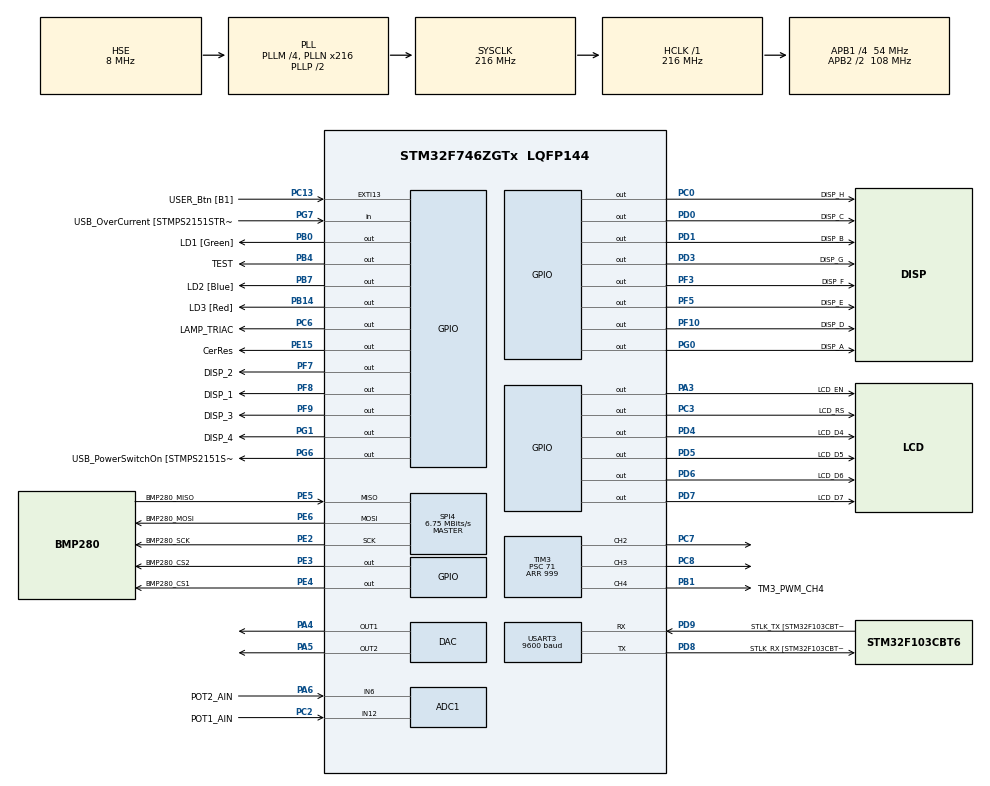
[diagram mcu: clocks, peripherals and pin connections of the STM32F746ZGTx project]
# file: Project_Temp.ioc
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ADC1.Channel-0\#ChannelRegularConversion=ADC_CHANNEL_12
ADC1.Channel-1\#ChannelRegularConversion=ADC_CHANNEL_6
ADC1.ClockPrescaler=ADC_CLOCK_SYNC_PCLK_DIV8
ADC1.ContinuousConvMode=DISABLE
ADC1.DMAContinuousRequests=ENABLE
ADC1.EOCSelection=ADC_EOC_SEQ_CONV
ADC1.InjNumberOfConversion=0
ADC1.NbrOfConversion=2
ADC1.NbrOfConversionFlag=1
ADC1.Rank-0\#ChannelRegularConversion=1
ADC1.Rank-1\#ChannelRegularConversion=2
ADC1.SamplingTime-0\#ChannelRegularConversion=ADC_SAMPLETIME_480CYCLES
ADC1.SamplingTime-1\#ChannelRegularConversion=ADC_SAMPLETIME_480CYCLES
ADC1.master=1
DAC.DAC_Trigger=DAC_TRIGGER_NONE
Dma.ADC1.0.Direction=DMA_PERIPH_TO_MEMORY
Dma.ADC1.0.FIFOMode=DMA_FIFOMODE_DISABLE
Dma.ADC1.0.Instance=DMA2_Stream0
Dma.ADC1.0.MemDataAlignment=DMA_MDATAALIGN_HALFWORD
Dma.ADC1.0.MemInc=DMA_MINC_ENABLE
Dma.ADC1.0.Mode=DMA_CIRCULAR
Dma.ADC1.0.PeriphDataAlignment=DMA_PDATAALIGN_HALFWORD
Dma.ADC1.0.PeriphInc=DMA_PINC_DISABLE
Dma.ADC1.0.Priority=DMA_PRIORITY_LOW
Dma.DAC1.1.Direction=DMA_MEMORY_TO_PERIPH
Dma.DAC1.1.FIFOMode=DMA_FIFOMODE_DISABLE
Dma.DAC1.1.Instance=DMA1_Stream5
Dma.DAC1.1.MemDataAlignment=DMA_MDATAALIGN_HALFWORD
Dma.DAC1.1.MemInc=DMA_MINC_ENABLE
Dma.DAC1.1.Mode=DMA_CIRCULAR
Dma.DAC1.1.PeriphDataAlignment=DMA_PDATAALIGN_HALFWORD
Dma.DAC1.1.PeriphInc=DMA_PINC_DISABLE
Dma.DAC1.1.Priority=DMA_PRIORITY_HIGH
Dma.Request0=ADC1
Dma.Request1=DAC1
Mcu.Family=STM32F7
Mcu.Name=STM32F746ZGTx
Mcu.Package=LQFP144
NVIC.DMA1_Stream5_IRQn=true\:0\:0\:false\:false\:true\:false\:true
NVIC.DMA2_Stream0_IRQn=true\:0\:0\:false\:false\:true\:false\:true
NVIC.EXTI15_10_IRQn=true\:0\:0\:false\:false\:true\:true\:true
NVIC.PriorityGroup=NVIC_PRIORITYGROUP_4
NVIC.TIM2_IRQn=true\:0\:0\:false\:false\:true\:true\:true
NVIC.TIM6_DAC_IRQn=true\:0\:0\:false\:false\:true\:true\:true
NVIC.TIM7_IRQn=true\:0\:0\:false\:false\:true\:true\:true
NVIC.USART3_IRQn=true\:0\:0\:false\:false\:true\:true\:true
PA1.GPIO_Label=RMII_REF_CLK [LAN8742A-CZ-TR_REFCLK0]
PA1.Signal=ETH_REF_CLK
PA10.GPIO_Label=USB_ID
PA10.Signal=USB_OTG_FS_ID
PA11.GPIO_Label=USB_DM
PA11.Signal=USB_OTG_FS_DM
PA12.GPIO_Label=USB_DP
PA12.Signal=USB_OTG_FS_DP
PA13.GPIO_Label=TMS
PA13.Mode=Serial_Wire
PA13.Signal=SYS_JTMS-SWDIO
PA14.GPIO_Label=TCK
PA14.Mode=Serial_Wire
PA14.Signal=SYS_JTCK-SWCLK
PA2.GPIO_Label=RMII_MDIO [LAN8742A-CZ-TR_MDIO]
PA2.Signal=ETH_MDIO
PA3.GPIO_Label=LCD_EN
PA3.Signal=GPIO_Output
PA4.Signal=COMP_DAC1_group
PA5.Signal=COMP_DAC2_group
PA6.GPIO_Label=POT2_AIN
PA6.Signal=ADCx_IN6
PA8.GPIO_Label=USB_SOF [TP1]
PA8.Signal=USB_OTG_FS_SOF
PA9.GPIO_Label=USB_VBUS
PA9.Signal=USB_OTG_FS_VBUS
PB0.GPIO_Label=LD1 [Green]
PB0.Signal=GPIO_Output
PB1.GPIO_Label=TM3_PWM_CH4
PB1.Signal=S_TIM3_CH4
PB13.GPIO_Label=RMII_TXD1 [LAN8742A-CZ-TR_TXD1]
PB13.Signal=ETH_TXD1
PB14.GPIO_Label=LD3 [Red]
PB14.Signal=GPIO_Output
PB3.GPIO_Label=SW0
PB3.Signal=SYS_JTDO-SWO
PB4.GPIO_Label=TEST
PB4.Signal=GPIO_Output
PB7.GPIO_Label=LD2 [Blue]
PB7.Signal=GPIO_Output
PC0.GPIO_Label=DISP_H
PC0.GPIO_ModeDefaultOutputPP=GPIO_MODE_OUTPUT_OD
PC0.GPIO_PuPd=GPIO_PULLUP
PC0.Signal=GPIO_Output
PC1.GPIO_Label=RMII_MDC [LAN8742A-CZ-TR_MDC]
PC1.Signal=ETH_MDC
PC13.GPIO_Label=USER_Btn [B1]
PC13.Signal=GPXTI13
PC14/OSC32_IN.Mode=LSE-External-Oscillator
PC14/OSC32_IN.Signal=RCC_OSC32_IN
PC15/OSC32_OUT.Mode=LSE-External-Oscillator
PC15/OSC32_OUT.Signal=RCC_OSC32_OUT
PC2.GPIO_Label=POT1_AIN
PC2.Signal=ADCx_IN12
PC3.GPIO_Label=LCD_RS
PC3.Signal=GPIO_Output
PC4.GPIO_Label=RMII_RXD0 [LAN8742A-CZ-TR_RXD0]
PC4.Signal=ETH_RXD0
PC5.GPIO_Label=RMII_RXD1 [LAN8742A-CZ-TR_RXD1]
PC5.Signal=ETH_RXD1
PC6.GPIO_Label=LAMP_TRIAC
PC6.GPIO_Speed=GPIO_SPEED_FREQ_HIGH
PC6.Signal=GPIO_Output
PC7.Signal=S_TIM3_CH2
PC8.Signal=S_TIM3_CH3
PD0.GPIO_Label=DISP_C
PD0.GPIO_ModeDefaultOutputPP=GPIO_MODE_OUTPUT_OD
PD0.GPIO_PuPd=GPIO_PULLUP
PD0.Signal=GPIO_Output
PD1.GPIO_Label=DISP_B
PD1.GPIO_ModeDefaultOutputPP=GPIO_MODE_OUTPUT_OD
PD1.GPIO_PuPd=GPIO_PULLUP
PD1.Signal=GPIO_Output
PD3.GPIO_Label=DISP_G
PD3.GPIO_ModeDefaultOutputPP=GPIO_MODE_OUTPUT_OD
PD3.GPIO_PuPd=GPIO_PULLUP
PD3.Signal=GPIO_Output
PD4.GPIO_Label=LCD_D4
PD4.Signal=GPIO_Output
PD5.GPIO_Label=LCD_D5
PD5.Signal=GPIO_Output
PD6.GPIO_Label=LCD_D6
PD6.Signal=GPIO_Output
PD7.GPIO_Label=LCD_D7
PD7.Signal=GPIO_Output
PD8.GPIO_Label=STLK_RX [STM32F103CBT6_PA3]
PD8.Mode=Asynchronous
PD8.Signal=USART3_TX
PD9.GPIO_Label=STLK_TX [STM32F103CBT6_PA2]
PD9.Mode=Asynchronous
PD9.Signal=USART3_RX
PE15.GPIO_Label=CerRes
PE15.Signal=GPIO_Output
PE2.GPIO_Label=BMP280_SCK
PE2.Mode=Full_Duplex_Master
PE2.Signal=SPI4_SCK
PE3.GPIO_Label=BMP280_CS2
PE3.GPIO_Speed=GPIO_SPEED_FREQ_VERY_HIGH
PE3.PinState=GPIO_PIN_SET
PE3.Signal=GPIO_Output
PE4.GPIO_Label=BMP280_CS1
PE4.GPIO_Speed=GPIO_SPEED_FREQ_VERY_HIGH
PE4.PinState=GPIO_PIN_SET
PE4.Signal=GPIO_Output
PE5.GPIO_Label=BMP280_MISO
PE5.Mode=Full_Duplex_Master
PE5.Signal=SPI4_MISO
PE6.GPIO_Label=BMP280_MOSI
PE6.Mode=Full_Duplex_Master
PE6.Signal=SPI4_MOSI
PF10.GPIO_Label=DISP_D
PF10.GPIO_ModeDefaultOutputPP=GPIO_MODE_OUTPUT_OD
PF10.GPIO_PuPd=GPIO_PULLUP
PF10.Signal=GPIO_Output
PF3.GPIO_Label=DISP_F
PF3.GPIO_ModeDefaultOutputPP=GPIO_MODE_OUTPUT_OD
PF3.GPIO_PuPd=GPIO_PULLUP
PF3.Signal=GPIO_Output
PF5.GPIO_Label=DISP_E
PF5.GPIO_ModeDefaultOutputPP=GPIO_MODE_OUTPUT_OD
PF5.GPIO_PuPd=GPIO_PULLUP
PF5.Signal=GPIO_Output
PF7.GPIO_Label=DISP_2
PF7.Signal=GPIO_Output
PF8.GPIO_Label=DISP_1
PF8.Signal=GPIO_Output
PF9.GPIO_Label=DISP_3
PF9.Signal=GPIO_Output
PG0.GPIO_Label=DISP_A
PG0.GPIO_ModeDefaultOutputPP=GPIO_MODE_OUTPUT_OD
PG0.GPIO_PuPd=GPIO_PULLUP
PG0.Signal=GPIO_Output
PG1.GPIO_Label=DISP_4
PG1.Signal=GPIO_Output
PG11.GPIO_Label=RMII_TX_EN [LAN8742A-CZ-TR_TXEN]
PG11.Signal=ETH_TX_EN
PG13.GPIO_Label=RMII_TXD0 [LAN8742A-CZ-TR_TXD0]
PG13.Signal=ETH_TXD0
PG6.GPIO_Label=USB_PowerSwitchOn [STMPS2151STR_EN]
PG6.Signal=GPIO_Output
PG7.GPIO_Label=USB_OverCurrent [STMPS2151STR_FAULT]
PG7.Signal=GPIO_Input
PH0/OSC_IN.GPIO_Label=MCO [STM32F103CBT6_PA8]
PH0/OSC_IN.Mode=HSE-External-Clock-Source
PH0/OSC_IN.Signal=RCC_OSC_IN
PH1/OSC_OUT.Mode=HSE-External-Clock-Source
PH1/OSC_OUT.Signal=RCC_OSC_OUT
ProjectManager.HeapSize=0x200
ProjectManager.StackSize=0x400
ProjectManager.TargetToolchain=STM32CubeIDE
RCC.48MHZClocksFreq_Value=24000000
RCC.AHBFreq_Value=216000000
RCC.APB1CLKDivider=RCC_HCLK_DIV4
RCC.APB1Freq_Value=54000000
RCC.APB1TimFreq_Value=108000000
RCC.APB2CLKDivider=RCC_HCLK_DIV2
RCC.APB2Freq_Value=108000000
RCC.APB2TimFreq_Value=216000000
RCC.CortexFreq_Value=216000000
RCC.HCLKFreq_Value=216000000
RCC.HSE_VALUE=8000000
RCC.HSI_VALUE=16000000
RCC.PLLM=4
RCC.PLLMUL=RCC_PLL_MUL9
RCC.PLLN=216
RCC.PLLQ=3
RCC.PLLSourceVirtual=RCC_PLLSOURCE_HSE
RCC.PRESCALERUSB=RCC_USBCLKSOURCE_PLL_DIV1_5
RCC.SYSCLKFreq_VALUE=216000000
RCC.SYSCLKSource=RCC_SYSCLKSOURCE_PLLCLK
RCC.SYSCLKSourceVirtual=RCC_SYSCLKSOURCE_PLLCLK
RCC.USBFreq_Value=144000000
RCC.VCOOutputFreq_Value=432000000
SH.ADCx_IN12.0=ADC1_IN12,IN12
SH.ADCx_IN6.0=ADC1_IN6,IN6
SH.COMP_DAC1_group.0=DAC_OUT1,DAC_OUT1
SH.COMP_DAC2_group.0=DAC_OUT2,DAC_OUT2
SH.S_TIM3_CH2.0=TIM3_CH2,PWM Generation2 CH2
SH.S_TIM3_CH3.0=TIM3_CH3,PWM Generation3 CH3
SH.S_TIM3_CH4.0=TIM3_CH4,PWM Generation4 CH4
SPI4.BaudRatePrescaler=SPI_BAUDRATEPRESCALER_16
SPI4.CLKPhase=SPI_PHASE_2EDGE
SPI4.CLKPolarity=SPI_POLARITY_HIGH
SPI4.CalculateBaudRate=6.75 MBits/s
SPI4.DataSize=SPI_DATASIZE_8BIT
SPI4.Direction=SPI_DIRECTION_2LINES
SPI4.Mode=SPI_MODE_MASTER
SPI4.VirtualType=VM_MASTER
TIM2.Period=4999
TIM2.Prescaler=107
TIM3.Channel-PWM\ Generation2\ CH2=TIM_CHANNEL_2
TIM3.Channel-PWM\ Generation3\ CH3=TIM_CHANNEL_3
TIM3.Channel-PWM\ Generation4\ CH4=TIM_CHANNEL_4
TIM3.Period=999
TIM3.Prescaler=71
TIM3.Pulse-PWM\ Generation2\ CH2=500
TIM3.Pulse-PWM\ Generation3\ CH3=0
TIM6.Period=999
TIM6.Prescaler=107
TIM6.TIM_MasterOutputTrigger=TIM_TRGO_UPDATE
TIM7.Period=999
TIM7.Prescaler=107
USART3.BaudRate=9600
USART3.VirtualMode-Asynchronous=VM_ASYNC
VP_TIM2_VS_ClockSourceINT.Mode=Internal
VP_TIM3_VS_ClockSourceINT.Mode=Internal
VP_TIM6_VS_ClockSourceINT.Mode=Enable_Timer
VP_TIM7_VS_ClockSourceINT.Mode=Enable_Timer
board=NUCLEO-F746ZG

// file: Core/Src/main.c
/* USER CODE BEGIN Header */
/**
  ******************************************************************************
  * @file           : main.c
  * @brief          : Main program body
  ******************************************************************************
  * @attention
  *
  * <h2><center>&copy; Copyright (c) 2021 STMicroelectronics.
  * All rights reserved.</center></h2>
  *
  * This software component is licensed by ST under BSD 3-Clause license,
  * the "License"; You may not use this file except in compliance with the
  * License. You may obtain a copy of the License at:
  *                        opensource.org/licenses/BSD-3-Clause
  *
  ******************************************************************************
  */
/* USER CODE END Header */
#include "main.h"
#include "adc.h"
#include "dac.h"
#include "dma.h"
#include "spi.h"
#include "tim.h"
#include "usart.h"
#include "gpio.h"

/* USER CODE BEGIN Includes */
//#include "lcd.h"
#include "LCD1602.h"
#include "bmp280.h"
#include "bmp280_defs.h"
/* USER CODE END Includes */

/* USER CODE BEGIN PD */
#define BMP280_CS1 1
#define DAC_BIT_RES 12
#define DAC_VOLTAGE_MAX 3.3
/* USER CODE END PD */

/* USER CODE BEGIN PV */

/*
 * Regulation function
 *
 * @param [in] sensorTemp : Temperature reading from sensor.
 * @param [in] givenTemp : Set temperature.
 *
 */
void AdjustTemperature(float sensorTemp, float givenTemp);

int8_t bmp280_spi_reg_read ( uint8_t cs , uint8_t reg_addr , uint8_t *
reg_data , uint16_t length);
int8_t bmp280_spi_reg_write ( uint8_t cs , uint8_t reg_addr , uint8_t *
reg_data , uint16_t length);

struct bmp280_dev bmp280 = {
 .dev_id = BMP280_CS1,
 .read = bmp280_spi_reg_read,
 .write = bmp280_spi_reg_write,
 .intf = BMP280_SPI_INTF,
.delay_ms = HAL_Delay
};

char sensinfo[5] = {0,0,0,0,0};
float floatingtemp = 0.0;

/* USER CODE END PV */

void SystemClock_Config(void);

/* USER CODE BEGIN 0 */

void HAL_UART_RxCpltCallback(UART_HandleTypeDef *huart)
{
if(huart->Instance == USART3)
{

	sscanf(sensinfo, "%f", &floatingtemp); // Array of characters is translated into floating point

}
HAL_UART_Receive_IT(&huart3,(uint8_t*)sensinfo,5);
}

/* USER CODE END 0 */

int main(void)
{

  /* MCU Configuration--------------------------------------------------------*/

  /* Reset of all peripherals, Initializes the Flash interface and the Systick. */
  HAL_Init();

  /* Configure the system clock */
  SystemClock_Config();

  /* Initialize all configured peripherals */
  MX_GPIO_Init();
  MX_DMA_Init();
  MX_USART3_UART_Init();
  MX_TIM2_Init();
  MX_TIM3_Init();
  MX_SPI4_Init();
  MX_ADC1_Init();
  MX_DAC_Init();
  MX_TIM6_Init();
  MX_TIM7_Init();
  /* USER CODE BEGIN 2 */

  struct bmp280_uncomp_data bmp280_1_data;
  double temp;

  HAL_TIM_Base_Start(&htim2);

  lcd_init();

  int8_t result;
  struct bmp280_config conf;
  result = bmp280_init(&bmp280);
  result = bmp280_get_config(&conf, &bmp280);
  /* configuring the temperature oversampling, filter coefficient and
 output data rate */
  /* Overwrite the desired settings */
  conf.filter = BMP280_FILTER_OFF;
  conf.os_temp = BMP280_OS_1X;
  conf.os_pres = BMP280_OS_1X;
  conf.odr = BMP280_ODR_250_MS;
  result = bmp280_set_config(&conf, &bmp280);
  result = bmp280_set_power_mode(BMP280_NORMAL_MODE, &bmp280);

  char temperature1[5] = {0,0,0,0,0};
  char temperature2[5] = {0,0,0,0,0};
  float scaled = 0.0;

  HAL_TIM_PWM_Start(&htim3,TIM_CHANNEL_3);

  /* USER CODE END 2 */

  /* Infinite loop */
  /* USER CODE BEGIN WHILE */
  while (1)

  {
	  HAL_UART_Receive_IT(&huart3,(uint8_t*)sensinfo,5);

	  /* Reading the raw data from sensor */
	  result = bmp280_get_uncomp_data(&bmp280_1_data, &bmp280);
	 /* Getting the compensated temperature as floating point value */
	  result = bmp280_get_comp_temp_double(&temp, bmp280_1_data.uncomp_temp, &bmp280);
	  bmp280.delay_ms(10);

	  scaled = (float)temp; //Scaling sensor reading from double to float
	  if(floatingtemp!=0.0)
		  AdjustTemperature(scaled, floatingtemp); //Blocking mode regulation function

	  /*Displaying data in blocking mode*/
	  lcd_put_cur(0, 0);
	  lcd_send_string("Zadane: ");
	  gcvt(floatingtemp, 5, temperature1); //Function takes floating point and translates it into string
	  lcd_put_cur(0, 10);
	  lcd_send_string(temperature1);
	  lcd_put_cur(1, 0);
	  lcd_send_string("Czujnik: ");
	  gcvt(scaled, 5, temperature2); //Function takes floating point and translates it into string
	  lcd_put_cur(1, 10);
	  lcd_send_string(temperature2);

    /* USER CODE END WHILE */

  }
}

void SystemClock_Config(void)
{
  RCC_OscInitTypeDef RCC_OscInitStruct = {0};
  RCC_ClkInitTypeDef RCC_ClkInitStruct = {0};
  RCC_PeriphCLKInitTypeDef PeriphClkInitStruct = {0};

  /** Configure LSE Drive Capability
  */
  HAL_PWR_EnableBkUpAccess();
  /** Configure the main internal regulator output voltage
  */
  __HAL_RCC_PWR_CLK_ENABLE();
  __HAL_PWR_VOLTAGESCALING_CONFIG(PWR_REGULATOR_VOLTAGE_SCALE1);
  /** Initializes the RCC Oscillators according to the specified parameters
  * in the RCC_OscInitTypeDef structure.
  */
  RCC_OscInitStruct.OscillatorType = RCC_OSCILLATORTYPE_HSE;
  RCC_OscInitStruct.HSEState = RCC_HSE_BYPASS;
  RCC_OscInitStruct.PLL.PLLState = RCC_PLL_ON;
  RCC_OscInitStruct.PLL.PLLSource = RCC_PLLSOURCE_HSE;
  RCC_OscInitStruct.PLL.PLLM = 4;
  RCC_OscInitStruct.PLL.PLLN = 216;
  RCC_OscInitStruct.PLL.PLLP = RCC_PLLP_DIV2;
  RCC_OscInitStruct.PLL.PLLQ = 3;
  if (HAL_RCC_OscConfig(&RCC_OscInitStruct) != HAL_OK)
  {
    Error_Handler();
  }
  /** Activate the Over-Drive mode
  */
  if (HAL_PWREx_EnableOverDrive() != HAL_OK)
  {
    Error_Handler();
  }
  /** Initializes the CPU, AHB and APB buses clocks
  */
  RCC_ClkInitStruct.ClockType = RCC_CLOCKTYPE_HCLK|RCC_CLOCKTYPE_SYSCLK
                              |RCC_CLOCKTYPE_PCLK1|RCC_CLOCKTYPE_PCLK2;
  RCC_ClkInitStruct.SYSCLKSource = RCC_SYSCLKSOURCE_PLLCLK;
  RCC_ClkInitStruct.AHBCLKDivider = RCC_SYSCLK_DIV1;
  RCC_ClkInitStruct.APB1CLKDivider = RCC_HCLK_DIV4;
  RCC_ClkInitStruct.APB2CLKDivider = RCC_HCLK_DIV2;

  if (HAL_RCC_ClockConfig(&RCC_ClkInitStruct, FLASH_LATENCY_7) != HAL_OK)
  {
    Error_Handler();
  }
  PeriphClkInitStruct.PeriphClockSelection = RCC_PERIPHCLK_USART3;
  PeriphClkInitStruct.Usart3ClockSelection = RCC_USART3CLKSOURCE_PCLK1;
  if (HAL_RCCEx_PeriphCLKConfig(&PeriphClkInitStruct) != HAL_OK)
  {
    Error_Handler();
  }
}

/* USER CODE BEGIN 4 */

void AdjustTemperature(float sensorTemp, float givenTemp)
{
	if(givenTemp>=sensorTemp)
	{
	__HAL_TIM_SET_COMPARE(&htim3, TIM_CHANNEL_3,999);
	HAL_GPIO_WritePin(TEST_GPIO_Port, TEST_Pin, 0);
	}
	else if(givenTemp<=sensorTemp)
	{
	__HAL_TIM_SET_COMPARE(&htim3, TIM_CHANNEL_3,0);
	HAL_GPIO_WritePin(TEST_GPIO_Port, TEST_Pin, 1);
	}
	else
	{
	__HAL_TIM_SET_COMPARE(&htim3, TIM_CHANNEL_3,0);
	HAL_GPIO_WritePin(TEST_GPIO_Port, TEST_Pin, 0);
	}
}

#define BMP280_SPI_BUFFER_LEN 28
#define BMP280_DATA_INDEX 	  1
#define BMP280_SPI          (&hspi4)
/*!
 * @brief Function for reading the sensor 's registers through SPI bus.
 *
 * @param [in] cs : Chip select to enable the sensor .
 * @param [in] reg_addr : Register address .
 * @param [ out] reg_data : Pointer to the data buffer to store the read data .
 * @param [in] length : No of bytes to read .
 *
 * @return Status of execution
 * @retval 0 -> Success
 * @retval >0 -> Failure Info
 *
 */

int8_t bmp280_spi_reg_read ( uint8_t cs , uint8_t reg_addr , uint8_t * reg_data , uint16_t
length )
 {
 /* Implement the SPI read routine according to the target machine . */
 HAL_StatusTypeDef status = HAL_OK;
 int32_t iError = BMP280_OK;
 uint8_t txarray [ BMP280_SPI_BUFFER_LEN ] = {0 ,};
 uint8_t rxarray [ BMP280_SPI_BUFFER_LEN ] = {0 ,};
 uint8_t stringpos;

 txarray [0] = reg_addr ;

 /* Software slave selection procedure */
 if(cs == BMP280_CS1)
 HAL_GPIO_WritePin ( BMP280_CS1_GPIO_Port , BMP280_CS1_Pin , GPIO_PIN_RESET ) ;

 /* Data exchange */
 status = HAL_SPI_TransmitReceive ( BMP280_SPI,( uint8_t*)(& txarray ),( uint8_t*) (&rxarray ), length + 1,5);
 while (BMP280_SPI -> State == HAL_SPI_STATE_BUSY ) {};

 /* Disable all slaves */
 HAL_GPIO_WritePin ( BMP280_CS1_GPIO_Port , BMP280_CS1_Pin , GPIO_PIN_SET ) ;

 /* Copy data from rx buffer */
 for ( stringpos = 0; stringpos < length ; stringpos ++)
 {
 reg_data [ stringpos ] = rxarray [ stringpos + BMP280_DATA_INDEX ];
 }
 // memcpy ( reg_data , rxarray + BMP280_DATA_INDEX , length );

 if ( status != HAL_OK )
 {
 // The BME280 API calls for 0 return value as a success , and -1 returned as failure
 iError = ( -1) ;
 }

 return ( int8_t ) iError ;
 }
int8_t bmp280_spi_reg_write ( uint8_t cs , uint8_t reg_addr , uint8_t * reg_data , uint16_t length )
 {
 /* Implement the SPI write routine according to the target machine . */
 HAL_StatusTypeDef status = HAL_OK ;
 int32_t iError = BMP280_OK ;
 uint8_t txarray [ BMP280_SPI_BUFFER_LEN ];
 uint8_t stringpos ;

 /* Copy register address and data to tx buffer */
 txarray [0] = reg_addr ;
 for ( stringpos = 0; stringpos < length ; stringpos ++)
 {
 txarray [ stringpos + BMP280_DATA_INDEX ] = reg_data [ stringpos ];
 }
 // memcpy ( txarray + BMP280_DATA_INDEX , reg_data , length );

 /* Software slave selection procedure */\
 if( cs == BMP280_CS1 )
 HAL_GPIO_WritePin ( BMP280_CS1_GPIO_Port , BMP280_CS1_Pin , GPIO_PIN_RESET ) ;

 /* Data exchange */
 status = HAL_SPI_Transmit ( BMP280_SPI , ( uint8_t *) (& txarray ) , length +1 , 100);
 while ( BMP280_SPI -> State == HAL_SPI_STATE_BUSY ) {};

 /* Disable all slaves */
 HAL_GPIO_WritePin ( BMP280_CS1_GPIO_Port , BMP280_CS1_Pin , GPIO_PIN_SET ) ;

 if ( status != HAL_OK )
 { // The BMP280 API calls for 0 return value as a success , and -1 returned as failure
 iError = ( -1) ;
 }

 return ( int8_t ) iError ;
 }

/* USER CODE END 4 */

void Error_Handler(void)
{
  __disable_irq();
  while (1)
  {
  }
}

/************************ (C) COPYRIGHT STMicroelectronics *****END OF FILE****/
